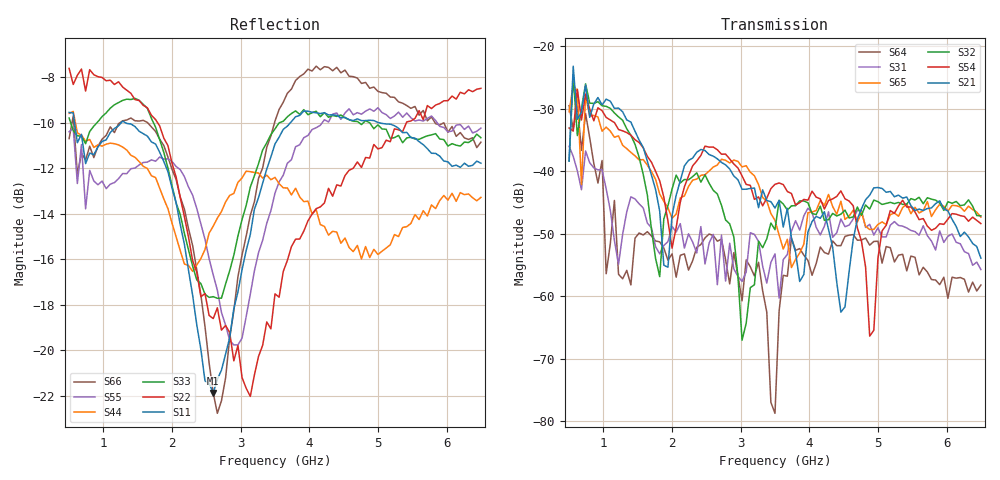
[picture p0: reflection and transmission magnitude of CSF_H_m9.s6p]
!Keysight Technologies,M9804A,MY58100912,A.14.10.03
!Date: Thursday, April 27, 2023 10:28:33
!Correction: S11(C  6-Port  )
!S12(C  6-Port  )
!S13(C  6-Port  )
!S14(C  6-Port  )
!S15(C  6-Port  )
!S16(C  6-Port  )
!S21(C  6-Port  )
!S22(C  6-Port  )
!S23(C  6-Port  )
!S24(C  6-Port  )
!S25(C  6-Port  )
!S26(C  6-Port  )
!S31(C  6-Port  )
!S32(C  6-Port  )
!S33(C  6-Port  )
!S34(C  6-Port  )
!S35(C  6-Port  )
!S36(C  6-Port  )
!S41(C  6-Port  )
!S42(C  6-Port  )
!S43(C  6-Port  )
!S44(C  6-Port  )
!S45(C  6-Port  )
!S46(C  6-Port  )
!S51(C  6-Port  )
!S52(C  6-Port  )
!S53(C  6-Port  )
!S54(C  6-Port  )
!S55(C  6-Port  )
!S56(C  6-Port  )
!S61(C  6-Port  )
!S62(C  6-Port  )
!S63(C  6-Port  )
!S64(C  6-Port  )
!S65(C  6-Port  )
!S66(C  6-Port  )
!S6P File: Measurement: :
# Hz S  RI  R 50
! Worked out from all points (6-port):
!   101 points, 500 MHz to 6.5 GHz, reference 50 ohm
!   strongest paths, dB at 500 MHz, 2 GHz, 3.5 GHz, 5 GHz, 6.5 GHz:
!     S21: -38.4, -47.1, -45.9, -42.6, -53.9
!     S54: -33.1, -52.3, -42.1, -53.9, -48.4
!     S32: -38.4, -42.9, -49.4, -44.9, -47.1
!     S65: -30.5, -47.5, -47.9, -48.5, -47.3
!     S31: -36.0, -48.8, -53.2, -49.1, -55.7
!     S64: -29.5, -53.2, -78.7, -51.2, -58.2
!   lowest |S11| = -21.9 dB at 2.6 GHz (marker M1), VSWR 1.18, Z = 42.8 + j1.97 ohm
!   |S11| at or under -10 dB: 579.7 MHz to 1.26 GHz (680 MHz wide, 73.9 % of centre); 1.321 GHz to 3.724 GHz (2.403 GHz wide, 95.3 % of centre); 5.018 GHz to end of sweep
